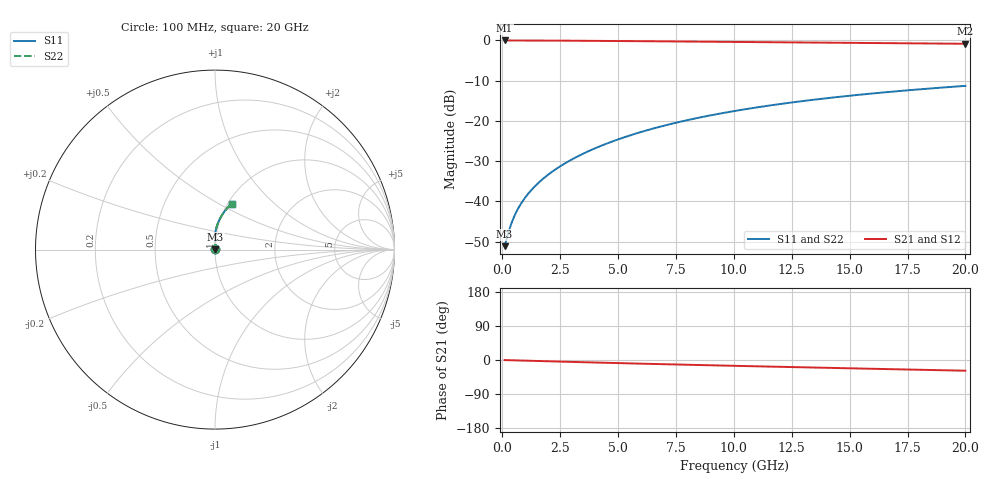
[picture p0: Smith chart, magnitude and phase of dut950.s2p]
! Touchstone file exported from HFSS 2024.1.0
!  File:  C:/UserFiles/LocalFiles/RDL_TSV_Batchsim/temp_RDL_bottom_950_1779942181.aedt
!  Generated:  12:25:39 PM May 28, 2026
!  Design:  RDL_bottom
!  Project:  temp_RDL_bottom_950_1779942181
!  Setup:  Setup1
!  Solution:  Sweep
! Variables:
!  dtsv = 10.80580581um
!  hbump = 3um
!  htsv = 67.8um
!  ldown = 364.54um
!  lrdl = 100um
!  p = 40
!  p1 = 58um
!  rhole = 1um
!  t = 450um
!  tdown = 2.11um
!  trdl = 3.915915916um
!  wdown = 29.61um
!  wrdl = 20um
# GHz S MA R 50.000000
! Terminal data exported
! Port[1] = RDL1_T1
! Port[2] = RDL1_T2
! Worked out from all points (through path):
!   200 points, 100 MHz to 20 GHz, reference 50 ohm
!   highest |S21| = -0.02 dB at 100 MHz (marker M1); lowest = -0.8 dB at 20 GHz (marker M2)
!   group delay of S21, straight-line fit = 3.86 ps
!   lowest |S11| = -51.1 dB at 100 MHz (marker M3), VSWR 1.01, Z = 50.3 + j0.121 ohm
!   |S11| at or under -10 dB: start of sweep to end of sweep
!   |S22| runs from -51.1 to -11.3 dB; largest |S21 - S12| = 2.6e-15
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0.1  0.002783 25.7  0.9975 -0.2  0.9975 -0.2  0.002783 25.7
! Gamma 0 0 0 0
! Port Impedance 50 0 50 0
0.3  0.004424 53.0  0.9972 -0.5  0.9972 -0.5  0.004424 52.9
0.4  0.00539 59.2  0.9971 -0.7  0.9971 -0.7  0.00539 59.2
0.5  0.006367 63.6  0.9969 -0.9  0.9969 -0.9  0.006367 63.6
0.6  0.007345 66.8  0.9967 -1.1  0.9967 -1.1  0.007345 66.8
0.7  0.008322 69.4  0.9965 -1.2  0.9965 -1.2  0.008322 69.4
0.9  0.01029 73.4  0.9962 -1.6  0.9962 -1.6  0.01029 73.4
1.2  0.01328 77.6  0.9956 -2.1  0.9956 -2.1  0.01328 77.6
1.7  0.01847 82.2  0.9945 -2.9  0.9945 -2.9  0.01847 82.2
2.2  0.02391 85.1  0.9931 -3.7  0.9931 -3.7  0.02391 85.1
2.8  0.03078 87.5  0.9911 -4.7  0.9911 -4.7  0.03078 87.5
3.5  0.03926 89.1  0.9884 -5.9  0.9884 -5.9  0.03926 89.1
4.2  0.0482 90.0  0.9854 -7.0  0.9854 -7.0  0.0482 90.0
5  0.05893 90.3  0.9817 -8.2  0.9817 -8.2  0.05893 90.3
5.9  0.07153 90.1  0.9773 -9.6  0.9773 -9.6  0.07153 90.1
6.8  0.08455 89.5  0.9728 -10.9  0.9728 -10.9  0.08455 89.5
8.4  0.1083 87.6  0.9647 -13.1  0.9647 -13.1  0.1083 87.7
10.1  0.1338 85.2  0.9563 -15.5  0.9563 -15.5  0.1338 85.2
11.7  0.1576 82.7  0.9484 -17.6  0.9484 -17.6  0.1576 82.7
13.4  0.1825 80.0  0.9401 -19.9  0.9401 -19.9  0.1825 80.0
16.7  0.2289 74.9  0.924 -24.1  0.924 -24.1  0.2289 74.9
20  0.2724 69.9  0.9076 -28.2  0.9076 -28.2  0.2724 70.0
